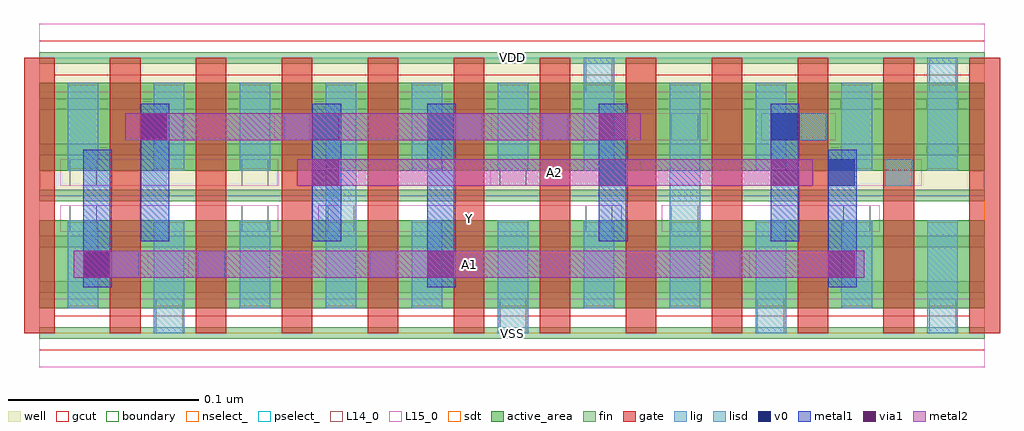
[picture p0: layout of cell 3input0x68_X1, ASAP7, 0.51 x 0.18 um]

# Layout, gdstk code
import gdstk
lib = gdstk.Library(unit=1e-6, precision=1e-09)
def R(c, l, rs):  # rectangles x0, y0, x1, y1
    for r in rs: c.add(gdstk.rectangle(r[:2], r[2:], *l))
def A(c, l, x, y, w, h, nx, ny, dx, dy):  # array of equal rectangles
    R(c, l, [(x+i*dx, y+j*dy, x+i*dx+w, y+j*dy+h) for i in range(nx) for j in range(ny)])
def P(c, l, *ps):  # polygons
    for p in ps: c.add(gdstk.Polygon(p, *l))
well = (1, 0)
fin = (2, 0)
gate = (7, 0)
gcut = (10, 0)
active_area = (11, 0)
nselect_ = (12, 0)
pselect_ = (13, 0)
L14_0 = (14, 0)
L15_0 = (15, 0)
lig = (16, 0)
lisd = (17, 0)
v0 = (18, 0)
metal1 = (19, 0)
metal2 = (20, 0)
via1 = (21, 0)
sdt = (88, 0)
boundary = (100, 0)

c_3input0x68_x1 = lib.new_cell('3input0x68_X1')
R(c_3input0x68_x1, well, [(0,0.072,0.495,0.144)])
A(c_3input0x68_x1, fin, 0, -0.003, 0.495, 0.006, 1, 7, 0, 0.024)
A(c_3input0x68_x1, gate, -0.008, 0, 0.016, 0.144, 12, 1, 0.045, 0)
P(c_3input0x68_x1, gcut, [(0,-0.009),(0,0),(-0.008,0),(-0.008,0.135),(0.008,0.135),(0.008,0.009),(0.307,0.009),(0.307,0.135),(0.323,0.135),(0.323,0.009),(0.487,0.009),(0.487,0.135),(-0.008,0.135),(-0.008,0.144),(0,0.144),(0,0.153),(0.495,0.153),(0.495,0.144),(0.503,0.144),(0.503,0),(0.495,0),(0.495,-0.009)])
R(c_3input0x68_x1, active_area, [(0,0.013,0.495,0.059), (0,0.085,0.495,0.131)])
R(c_3input0x68_x1, nselect_, [(0,0,0.495,0.072)])
R(c_3input0x68_x1, pselect_, [(0,0.072,0.495,0.144)])
R(c_3input0x68_x1, L14_0, [(0.061,0,0.075,0.018), (0.241,0,0.255,0.018), (0.376,0,0.39,0.018), (0.466,0,0.48,0.018), (0.038,0.029,0.052,0.043), (0.083,0.029,0.097,0.043), (0.173,0.029,0.187,0.043), (0.353,0.029,0.367,0.043), (0.016,0.053,0.03,0.067), (0.106,0.053,0.12,0.067), (0.151,0.053,0.165,0.067), (0.286,0.053,0.3,0.067), (0.331,0.053,0.345,0.067), (0.421,0.053,0.435,0.067), (0.016,0.077,0.03,0.091), (0.106,0.077,0.12,0.091), (0.241,0.077,0.255,0.091), (0.443,0.077,0.457,0.091), (0.061,0.101,0.075,0.115), (0.128,0.101,0.142,0.115), (0.218,0.101,0.232,0.115), (0.263,0.101,0.277,0.115), (0.331,0.101,0.345,0.115), (0.398,0.101,0.412,0.115), (0.286,0.126,0.3,0.144), (0.466,0.126,0.48,0.144)])
R(c_3input0x68_x1, L15_0, [(0,-0.018,0.495,0.018), (0.018,0.029,0.057,0.043), (0.078,0.029,0.372,0.043), (0.011,0.053,0.125,0.067), (0.146,0.053,0.305,0.067), (0.326,0.053,0.44,0.067), (0.011,0.077,0.125,0.091), (0.236,0.077,0.315,0.091), (0.405,0.077,0.462,0.091), (0.045,0.101,0.08,0.115), (0.123,0.101,0.162,0.115), (0.198,0.101,0.237,0.115), (0.258,0.101,0.35,0.115), (0.378,0.101,0.417,0.115), (0,0.126,0.495,0.162)])
R(c_3input0x68_x1, lig, [(0.038,0.029,0.052,0.043), (0.083,0.029,0.097,0.043), (0.173,0.029,0.187,0.043), (0.353,0.029,0.367,0.043), (0.443,0.077,0.457,0.091), (0.128,0.101,0.142,0.115), (0.218,0.101,0.232,0.115), (0.263,0.101,0.277,0.115), (0.398,0.101,0.412,0.115)])
A(c_3input0x68_x1, lisd, 0.015, 0.013, 0.016, 0.046, 4, 1, 0.09, 0)
A(c_3input0x68_x1, lisd, 0.015, 0.085, 0.016, 0.046, 3, 1, 0.045, 0)
R(c_3input0x68_x1, lisd, [(0.06,0,0.076,0.059), (0.24,0,0.256,0.059), (0.375,0,0.391,0.059), (0.465,0,0.481,0.059), (0.15,0.013,0.166,0.131), (0.33,0.013,0.346,0.131), (0.42,0.013,0.436,0.059), (0.195,0.085,0.211,0.131), (0.24,0.085,0.256,0.131), (0.285,0.085,0.301,0.144), (0.375,0.085,0.391,0.131), (0.42,0.085,0.436,0.131), (0.465,0.085,0.481,0.144)])
R(c_3input0x68_x1, v0, [(0.023,0.029,0.037,0.043), (0.293,0.077,0.307,0.091), (0.413,0.077,0.427,0.091), (0.053,0.101,0.067,0.115), (0.143,0.101,0.157,0.115), (0.203,0.101,0.217,0.115), (0.383,0.101,0.397,0.115)])
R(c_3input0x68_x1, metal1, [(0.023,0.024,0.038,0.096), (0.203,0.024,0.218,0.12), (0.413,0.024,0.428,0.096), (0.053,0.048,0.068,0.12), (0.143,0.048,0.158,0.12), (0.293,0.048,0.308,0.12), (0.383,0.048,0.398,0.12)])
R(c_3input0x68_x1, metal2, [(0.018,0.029,0.432,0.043), (0.135,0.077,0.405,0.091), (0.045,0.101,0.315,0.115)])
R(c_3input0x68_x1, via1, [(0.023,0.029,0.037,0.043), (0.203,0.029,0.217,0.043), (0.413,0.029,0.427,0.043), (0.143,0.077,0.157,0.091), (0.383,0.077,0.397,0.091), (0.053,0.101,0.067,0.115), (0.293,0.101,0.307,0.115)])
A(c_3input0x68_x1, sdt, 0.015, 0.014, 0.016, 0.044, 11, 2, 0.045, 0.072)
R(c_3input0x68_x1, boundary, [(0,0,0.495,0.144)])
c_3input0x68_x1.add(gdstk.Label('VSS', (0.248,0), layer=15, texttype=251))
c_3input0x68_x1.add(gdstk.Label('VDD', (0.248,0.144), layer=15, texttype=251))
c_3input0x68_x1.add(gdstk.Label('VSS', (0.248,0), layer=15, texttype=251))
c_3input0x68_x1.add(gdstk.Label('VDD', (0.248,0.144), layer=15, texttype=251))
c_3input0x68_x1.add(gdstk.Label('A1', (0.225,0.036), layer=15, texttype=251))
c_3input0x68_x1.add(gdstk.Label('VSS', (0.248,0), layer=15, texttype=251))
c_3input0x68_x1.add(gdstk.Label('VDD', (0.248,0.144), layer=15, texttype=251))
c_3input0x68_x1.add(gdstk.Label('Y', (0.225,0.06), layer=15, texttype=251))
c_3input0x68_x1.add(gdstk.Label('VSS', (0.248,0), layer=15, texttype=251))
c_3input0x68_x1.add(gdstk.Label('VDD', (0.248,0.144), layer=15, texttype=251))
c_3input0x68_x1.add(gdstk.Label('VSS', (0.248,0), layer=3, texttype=251))
c_3input0x68_x1.add(gdstk.Label('VSS', (0.248,0), layer=3, texttype=251))
c_3input0x68_x1.add(gdstk.Label('VSS', (0.248,0), layer=3, texttype=251))
c_3input0x68_x1.add(gdstk.Label('VSS', (0.248,0), layer=3, texttype=251))
c_3input0x68_x1.add(gdstk.Label('VDD', (0.248,0.144), layer=1, texttype=251))
c_3input0x68_x1.add(gdstk.Label('VDD', (0.248,0.144), layer=1, texttype=251))
c_3input0x68_x1.add(gdstk.Label('VDD', (0.248,0.144), layer=1, texttype=251))
c_3input0x68_x1.add(gdstk.Label('VDD', (0.248,0.144), layer=1, texttype=251))
c_3input0x68_x1.add(gdstk.Label('A3', (0.225,0.036), layer=20, texttype=251))
c_3input0x68_x1.add(gdstk.Label('A2', (0.27,0.084), layer=20, texttype=251))

lib.write_gds('3input0x68_X1.gds')
